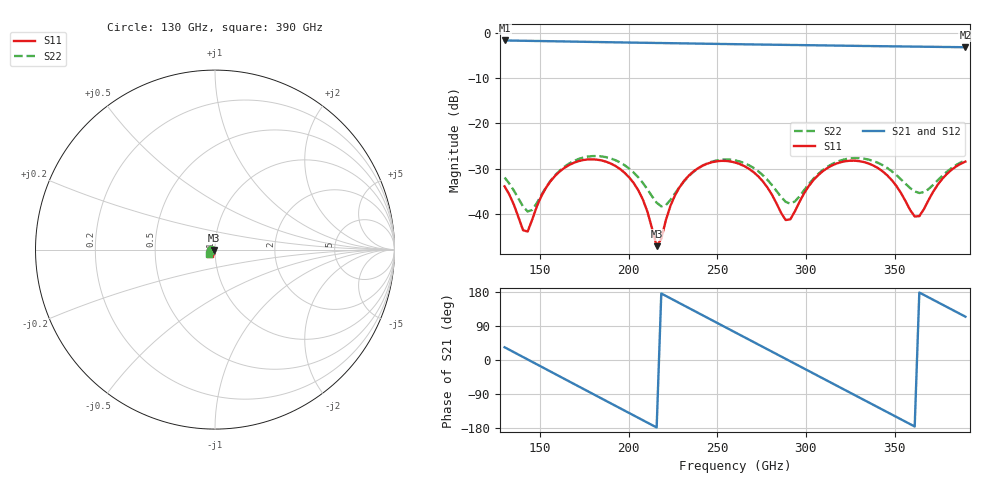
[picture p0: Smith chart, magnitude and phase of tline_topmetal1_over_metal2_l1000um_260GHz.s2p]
#  GHZ S DB R 50
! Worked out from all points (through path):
!   101 points, 130 GHz to 390 GHz, reference 50 ohm
!   highest |S21| = -1.71 dB at 130 GHz (marker M1); lowest = -3.2 dB at 390 GHz (marker M2)
!   group delay of S21, straight-line fit = 6.83 ps
!   lowest |S11| = -47.1 dB at 215.8 GHz (marker M3), VSWR 1.01, Z = 49.6 - j0.134 ohm
!   |S11| at or under -10 dB: start of sweep to end of sweep
!   |S22| runs from -39.5 to -27.2 dB; largest |S21 - S12| = 1.3e-13
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130  -33.92 -178.7  -1.71 33.6  -1.71 33.6  -31.95 -171.3
140.4  -43.58 -155.0  -1.78 7.9  -1.78 7.9  -38.36 -159.8
143  -43.89 -122.3  -1.79 1.4  -1.79 1.4  -39.46 -143.8
156  -32.73 -96.5  -1.88 -30.7  -1.88 -30.7  -32.64 -104.2
174.2  -28.11 -133.8  -2.00 -75.7  -2.00 -75.7  -27.57 -132.4
187.2  -28.46 -163.2  -2.09 -107.7  -2.09 -107.7  -27.47 -157.7
200.2  -31.89 169.3  -2.17 -139.7  -2.17 -139.7  -29.96 -179.7
208  -36.81 158.3  -2.22 -158.9  -2.22 -158.9  -33.15 174.2
215.8  -47.11 -162.2  -2.26 -178.1  -2.26 -178.1  -37.52 -171.1
218.4  -45.50 -116.8  -2.28 175.5  -2.28 175.5  -38.32 -157.4
226.2  -35.84 -97.1  -2.32 156.3  -2.32 156.3  -35.44 -124.6
234  -31.52 -109.2  -2.37 137.1  -2.37 137.1  -31.62 -123.1
247  -28.58 -135.9  -2.45 105.1  -2.45 105.1  -28.45 -141.0
260  -28.64 -163.2  -2.53 73.2  -2.53 73.2  -28.16 -163.5
275.6  -32.76 170.2  -2.62 34.9  -2.62 34.9  -31.41 174.9
288.6  -41.34 -162.6  -2.69 3.0  -2.69 3.0  -37.33 -168.4
304.2  -32.56 -116.6  -2.77 -35.3  -2.77 -35.3  -32.25 -125.5
325  -28.25 -152.5  -2.88 -86.4  -2.88 -86.4  -27.74 -151.7
348.4  -32.51 167.7  -3.00 -143.7  -3.00 -143.7  -30.57 176.8
364  -40.49 -145.1  -3.08 178.1  -3.08 178.1  -35.38 -161.6
377  -32.24 -119.8  -3.14 146.2  -3.14 146.2  -31.58 -135.7
390  -28.45 -139.5  -3.21 114.3  -3.21 114.3  -28.16 -146.1
